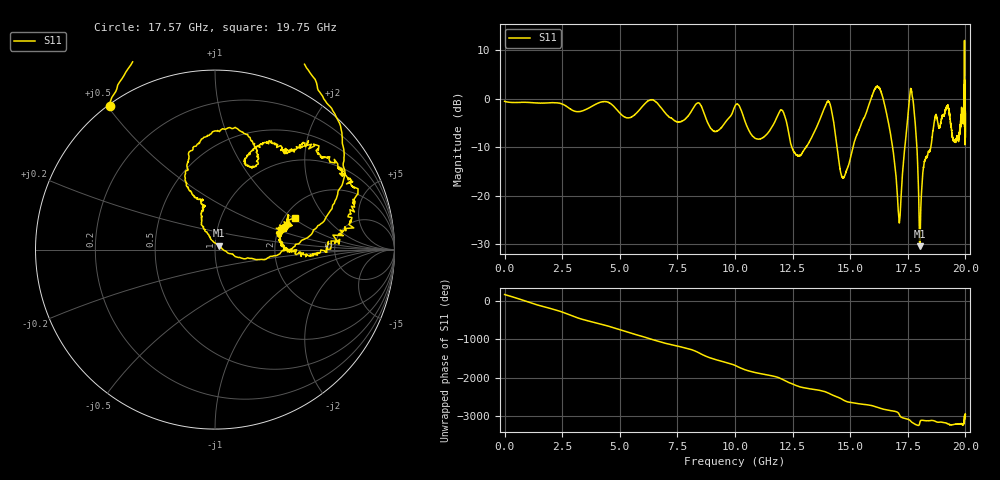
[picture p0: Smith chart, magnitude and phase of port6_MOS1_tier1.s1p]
! Created with skrf 1.8.0 (http://scikit-rf.org).
# GHz S RI R 50.0
!freq ReS11 ImS11
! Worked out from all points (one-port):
!   10001 points, 1 MHz to 20 GHz, reference 50 ohm
!   lowest |S11| = -30.4 dB at 18.02 GHz (marker M1), VSWR 1.06, Z = 52.2 + j2.22 ohm
!   |S11| at or under -10 dB: 12.47 GHz to 13.08 GHz (610 MHz wide, 4.78 % of centre); 14.43 GHz to 15.12 GHz (690.1 MHz wide, 4.67 % of centre); 17.89 GHz to 18.5 GHz (606 MHz wide, 3.33 % of centre) (the widest 3 of 4)
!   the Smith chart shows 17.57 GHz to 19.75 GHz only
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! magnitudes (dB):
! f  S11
! 1 MHz  -0.5
! 2.501 GHz  -1.1
! 5.001 GHz  -3.0
! 6.403 GHz  -0.2
! 7.501 GHz  -4.8
! 8.411 GHz  -0.8
! 9.191 GHz  -6.8
! 10 GHz  -1.5
! 11 GHz  -8.3
! 12.04 GHz  -2.4
! 12.5 GHz  -10.4
! 12.91 GHz  -11.3
! 14.05 GHz  -0.5
! 14.63 GHz  -16.0
! 15 GHz  -12.4
! 16.23 GHz  2.4
! 16.74 GHz  -6.9
! 17.13 GHz  -25.6
! 17.5 GHz  -3.7
! 17.62 GHz  2.0
! 17.72 GHz  0.0
! 17.84 GHz  -6.5
! 18.02 GHz  -30.4
! 18.22 GHz  -12.9
! 18.69 GHz  -3.8
! 19.22 GHz  -1.5
! 19.57 GHz  -8.7
! 20 GHz  -3.1
